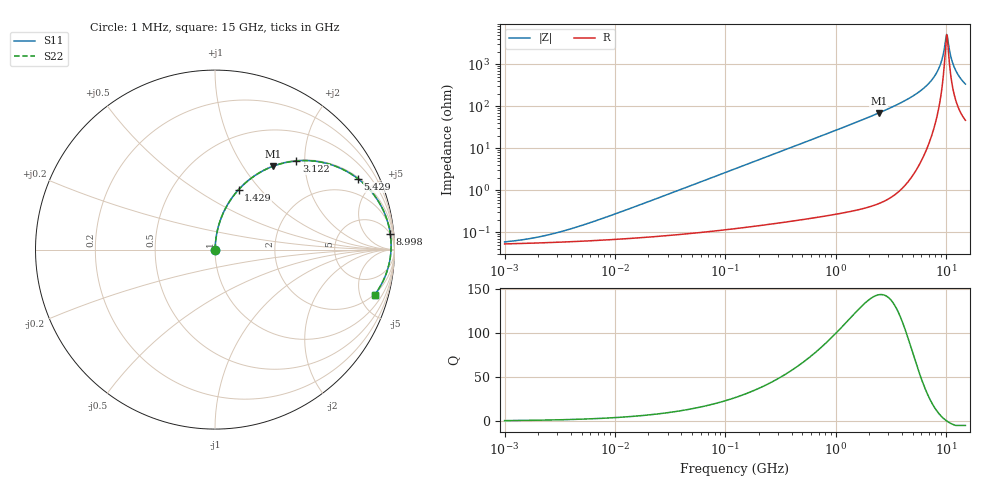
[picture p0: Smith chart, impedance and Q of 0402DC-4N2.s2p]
# MHz  S  MA  R  50
!Freq  MagS11  AngS11  MagS21  AngS21  MagS12  AngS12  MagS22  AngS22
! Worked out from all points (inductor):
!   801 points, 1 MHz to 15 GHz, reference 50 ohm
!   read as one part in series: L = 4.2 nH near 7.364 MHz
!   highest Q = 143 at 2.455 GHz (marker M1), where L = 4.46 nH
!   self-resonance near 10.15 GHz
!   S11 on the Smith chart (normalised r, x): 1 MHz: 1.00, +0.00; 1.429 GHz: 1.01, +0.77; 3.122 GHz: 1.01, +1.82; 5.429 GHz: 1.06, +4.01; 8.998 GHz: 5, +21; 15 GHz: 1.93, -6.68
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1  0.0005904 26.5  0.9995 -0.0  0.9995 -0.0  0.0005904 26.5
2.185358  0.0008043 45.7  0.9994 -0.0  0.9994 -0.0  0.0008043 45.7
5.011168  0.001457 65.0  0.9994 -0.1  0.9994 -0.1  0.001457 65.0
24.81158  0.006591 82.6  0.9992 -0.4  0.9992 -0.4  0.006591 82.6
122.8485  0.03239 86.0  0.9983 -1.9  0.9983 -1.9  0.03239 86.0
608.2547  0.1587 80.1  0.9852 -9.1  0.9852 -9.1  0.1587 80.1
1428.725  0.358 68.5  0.9307 -21.0  0.9307 -21.0  0.358 68.5
2454.724  0.5649 55.2  0.8212 -34.4  0.8212 -34.4  0.5649 55.2
3048.066  0.6599 48.3  0.7467 -41.3  0.7467 -41.3  0.6599 48.3
3122.276  0.6705 47.5  0.7371 -42.1  0.7371 -42.1  0.6705 47.5
4117.276  0.789 37.4  0.6072 -52.1  0.6072 -52.1  0.789 37.4
5429.362  0.8891 26.3  0.4439 -62.7  0.4439 -62.7  0.8891 26.3
7422.63  0.9622 13.3  0.2302 -74.0  0.2302 -74.0  0.9622 13.3
8271.202  0.9752 8.7  0.1524 -76.3  0.1524 -76.3  0.9752 8.7
8997.723  0.9805 5.2  0.0917 -75.2  0.0917 -75.2  0.9805 5.2
9906.495  0.9815 1.2  0.02716 -46.6  0.02716 -46.6  0.9815 1.2
10270.47  0.9805 -0.4  0.02043 17.3  0.02043 17.3  0.9805 -0.4
10520.52  0.9794 -1.4  0.0312 48.0  0.0312 48.0  0.9794 -1.4
11307.79  0.974 -4.3  0.07925 68.7  0.07925 68.7  0.974 -4.3
12008.67  0.9672 -6.8  0.1215 71.0  0.1215 71.0  0.9672 -6.8
13381.53  0.9498 -11.2  0.1971 69.7  0.1971 69.7  0.9498 -11.2
15000  0.9246 -15.8  0.2743 66.3  0.2743 66.3  0.9246 -15.8
